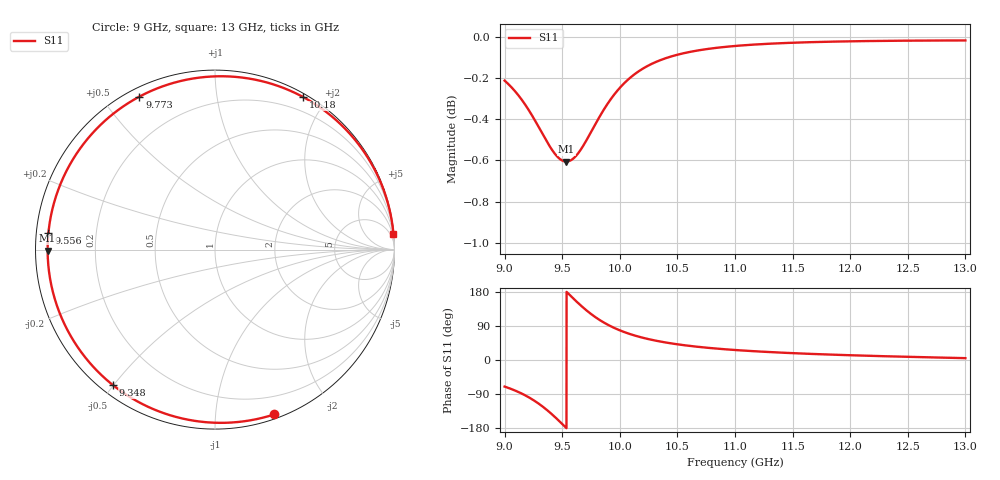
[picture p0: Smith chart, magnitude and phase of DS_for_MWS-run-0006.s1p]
! TOUCHSTONE file generated by CST DESIGN STUDIO
! Date and time: Tue Feb  4 15:46:09 2025
! Project name: C:\Work\MatlabApps\UnitCellOptimizationMatlab\CST\unitcell.cst
! Tree item: Tasks\Sweep1\SPara1\S-Parameters
! Header version: 2024
! Port assignment regex: !\s*Touchstone port\s*([0-9]+)\s*=\s*(CST MWS port|CST DES external port|CST DES block port)\s*(.+)\s* \(\"(.*)\"\)(\s*mode\s*([0-9]+))?.*
! Touchstone port assignment:
! Touchstone port 1 = CST DES external port 1 ("")
# GHz S MA R 50
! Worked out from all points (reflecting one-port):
!   4001 points, 9 GHz to 13 GHz, reference 50 ohm
!   lowest |S11| = -0.6 dB at 9.536 GHz (marker M1), VSWR 28.69, Z = 1.74 - j0.174 ohm
!   phase of S11 starts at -70 deg and turns -285 deg over the sweep
!   S11 on the Smith chart (normalised r, x): 9 GHz: 0.04, -1.42; 9.348 GHz: 0.04, -0.50; 9.556 GHz: 0.03, +0.05; 9.773 GHz: 0.04, +0.62; 10.18 GHz: 0.04, +1.73; 13 GHz: 1, +23
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9  0.9758 -70.2
9.097  0.9696 -81.4
9.205  0.9603 -97.6
9.28  0.9526 -111.8
9.348  0.9451 -127.1
9.42  0.938 -145.8
9.462  0.9349 -157.6
9.5  0.9332 -168.8
9.536  0.9326 -179.6
9.556  0.9328 174.4
9.61  0.935 158.4
9.671  0.9398 141.3
9.722  0.945 128.1
9.773  0.9507 116.3
9.821  0.956 106.4
9.873  0.9613 96.8
9.931  0.9666 87.6
10  0.9719 78.3
10.088  0.9773 68.5
10.184  0.9818 59.9
10.328  0.9865 50.1
10.5  0.9901 41.4
10.721  0.9929 33.5
11  0.995 26.4
11.5  0.9968 18.1
12  0.9976 12.6
12.5  0.9979 8.4
13  0.998 4.9
